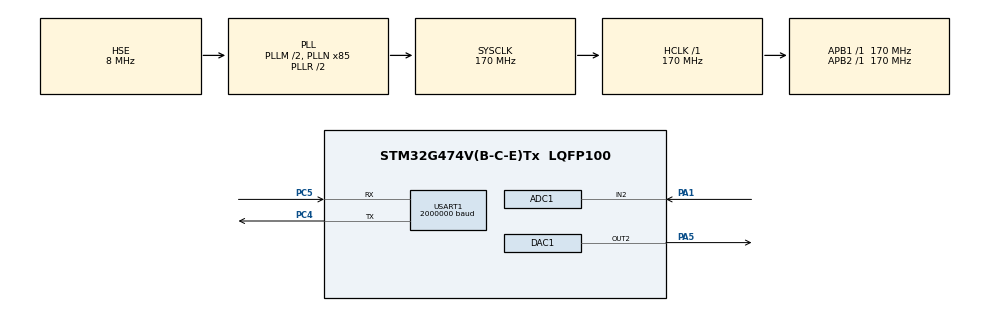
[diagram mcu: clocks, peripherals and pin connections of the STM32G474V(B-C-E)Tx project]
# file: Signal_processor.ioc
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ADC1.Channel-1\#ChannelRegularConversion=ADC_CHANNEL_2
ADC1.DMAContinuousRequests=ENABLE
ADC1.ExternalTrigConv=ADC_EXTERNALTRIG_T3_TRGO
ADC1.NbrOfConversionFlag=1
ADC1.OffsetNumber-1\#ChannelRegularConversion=ADC_OFFSET_NONE
ADC1.Rank-1\#ChannelRegularConversion=1
ADC1.SamplingTime-1\#ChannelRegularConversion=ADC_SAMPLETIME_12CYCLES_5
ADC1.master=1
DAC1.DAC_Channel-DAC_OUT2=DAC_CHANNEL_2
Dma.ADC1.2.Direction=DMA_PERIPH_TO_MEMORY
Dma.ADC1.2.EventEnable=DISABLE
Dma.ADC1.2.Instance=DMA1_Channel2
Dma.ADC1.2.MemDataAlignment=DMA_MDATAALIGN_HALFWORD
Dma.ADC1.2.MemInc=DMA_MINC_ENABLE
Dma.ADC1.2.Mode=DMA_CIRCULAR
Dma.ADC1.2.PeriphDataAlignment=DMA_PDATAALIGN_HALFWORD
Dma.ADC1.2.PeriphInc=DMA_PINC_DISABLE
Dma.ADC1.2.Polarity=HAL_DMAMUX_REQ_GEN_RISING
Dma.ADC1.2.Priority=DMA_PRIORITY_LOW
Dma.ADC1.2.RequestNumber=1
Dma.ADC1.2.SignalID=NONE
Dma.ADC1.2.SyncEnable=DISABLE
Dma.ADC1.2.SyncPolarity=HAL_DMAMUX_SYNC_NO_EVENT
Dma.ADC1.2.SyncRequestNumber=1
Dma.ADC1.2.SyncSignalID=NONE
Dma.Request0=USART1_RX
Dma.Request1=USART1_TX
Dma.Request2=ADC1
Dma.USART1_RX.0.Direction=DMA_PERIPH_TO_MEMORY
Dma.USART1_RX.0.EventEnable=DISABLE
Dma.USART1_RX.0.Instance=DMA1_Channel3
Dma.USART1_RX.0.MemDataAlignment=DMA_MDATAALIGN_BYTE
Dma.USART1_RX.0.MemInc=DMA_MINC_ENABLE
Dma.USART1_RX.0.Mode=DMA_CIRCULAR
Dma.USART1_RX.0.PeriphDataAlignment=DMA_PDATAALIGN_BYTE
Dma.USART1_RX.0.PeriphInc=DMA_PINC_DISABLE
Dma.USART1_RX.0.Polarity=HAL_DMAMUX_REQ_GEN_RISING
Dma.USART1_RX.0.Priority=DMA_PRIORITY_LOW
Dma.USART1_RX.0.RequestNumber=1
Dma.USART1_RX.0.SignalID=NONE
Dma.USART1_RX.0.SyncEnable=DISABLE
Dma.USART1_RX.0.SyncPolarity=HAL_DMAMUX_SYNC_NO_EVENT
Dma.USART1_RX.0.SyncRequestNumber=1
Dma.USART1_RX.0.SyncSignalID=NONE
Dma.USART1_TX.1.Direction=DMA_MEMORY_TO_PERIPH
Dma.USART1_TX.1.EventEnable=DISABLE
Dma.USART1_TX.1.Instance=DMA1_Channel4
Dma.USART1_TX.1.MemDataAlignment=DMA_MDATAALIGN_BYTE
Dma.USART1_TX.1.MemInc=DMA_MINC_ENABLE
Dma.USART1_TX.1.Mode=DMA_NORMAL
Dma.USART1_TX.1.PeriphDataAlignment=DMA_PDATAALIGN_BYTE
Dma.USART1_TX.1.PeriphInc=DMA_PINC_DISABLE
Dma.USART1_TX.1.Polarity=HAL_DMAMUX_REQ_GEN_RISING
Dma.USART1_TX.1.Priority=DMA_PRIORITY_LOW
Dma.USART1_TX.1.RequestNumber=1
Dma.USART1_TX.1.SignalID=NONE
Dma.USART1_TX.1.SyncEnable=DISABLE
Dma.USART1_TX.1.SyncPolarity=HAL_DMAMUX_SYNC_NO_EVENT
Dma.USART1_TX.1.SyncRequestNumber=1
Dma.USART1_TX.1.SyncSignalID=NONE
Mcu.Family=STM32G4
Mcu.Name=STM32G474V(B-C-E)Tx
Mcu.Package=LQFP100
NVIC.DMA1_Channel2_IRQn=true\:0\:0\:false\:false\:true\:false\:true\:true
NVIC.DMA1_Channel3_IRQn=true\:0\:0\:false\:false\:true\:false\:true\:true
NVIC.DMA1_Channel4_IRQn=true\:0\:0\:false\:false\:true\:false\:true\:true
NVIC.PriorityGroup=NVIC_PRIORITYGROUP_4
NVIC.TIM6_DAC_IRQn=true\:0\:0\:false\:false\:true\:true\:true\:true
NVIC.USART1_IRQn=true\:0\:0\:false\:false\:true\:true\:true\:true
PA1.Mode=IN2-Single-Ended
PA1.Signal=ADC1_IN2
PA5.Signal=COMP_DAC12_group
PC4.Mode=Asynchronous
PC4.Signal=USART1_TX
PC5.Mode=Asynchronous
PC5.Signal=USART1_RX
PF0-OSC_IN.Mode=HSE-External-Oscillator
PF0-OSC_IN.Signal=RCC_OSC_IN
PF1-OSC_OUT.Mode=HSE-External-Oscillator
PF1-OSC_OUT.Signal=RCC_OSC_OUT
ProjectManager.HeapSize=0x200
ProjectManager.StackSize=0x400
ProjectManager.TargetToolchain=STM32CubeIDE
RCC.ADC12Freq_Value=170000000
RCC.ADC345Freq_Value=170000000
RCC.AHBFreq_Value=170000000
RCC.APB1Freq_Value=170000000
RCC.APB1TimFreq_Value=170000000
RCC.APB2Freq_Value=170000000
RCC.APB2TimFreq_Value=170000000
RCC.CortexFreq_Value=170000000
RCC.EXTERNAL_CLOCK_VALUE=12288000
RCC.HCLKFreq_Value=170000000
RCC.HSE_VALUE=8000000
RCC.HSI48_VALUE=48000000
RCC.HSI_VALUE=16000000
RCC.LSE_VALUE=32768
RCC.PLLM=RCC_PLLM_DIV2
RCC.PLLN=85
RCC.PLLSourceVirtual=RCC_PLLSOURCE_HSE
RCC.SYSCLKFreq_VALUE=170000000
RCC.SYSCLKSource=RCC_SYSCLKSOURCE_PLLCLK
RCC.USBFreq_Value=170000000
RCC.VCOOutputFreq_Value=340000000
SH.COMP_DAC12_group.0=DAC1_OUT2,DAC_OUT2
TIM3.AutoReloadPreload=TIM_AUTORELOAD_PRELOAD_ENABLE
TIM3.PeriodNoDither=1699
TIM3.TIM_MasterOutputTrigger=TIM_TRGO_UPDATE
TIM6.AutoReloadPreload=TIM_AUTORELOAD_PRELOAD_ENABLE
TIM6.PeriodNoDither=665
TIM6.TIM_MasterOutputTrigger=TIM_TRGO_UPDATE
USART1.BaudRate=2000000
USART1.OverSampling=UART_OVERSAMPLING_16
USART1.VirtualMode-Asynchronous=VM_ASYNC
VP_SYS_VS_DBSignals.Mode=DisableDeadBatterySignals
VP_TIM3_VS_ClockSourceINT.Mode=Internal
VP_TIM6_VS_ClockSourceINT.Mode=Enable_Timer
board=custom

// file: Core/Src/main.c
/* USER CODE BEGIN Header */
/**
  ******************************************************************************
  * @file           : main.c
  * @brief          : Main program body
  ******************************************************************************
  * @attention
  *
  * Copyright (c) 2026 STMicroelectronics.
  * All rights reserved.
  *
  * This software is licensed under terms that can be found in the LICENSE file
  * in the root directory of this software component.
  * If no LICENSE file comes with this software, it is provided AS-IS.
  *
  ******************************************************************************
  */
/* USER CODE END Header */
#include "main.h"
#include "adc.h"
#include "dac.h"
#include "dma.h"
#include "tim.h"
#include "usart.h"
#include "gpio.h"

/* USER CODE BEGIN Includes */
#include "signal_generator.h"
#include "oscilloscope.h"
#include "uart_protocol.h"
/* USER CODE END Includes */

void SystemClock_Config(void);

int main(void)
{

  /* MCU Configuration--------------------------------------------------------*/

  /* Reset of all peripherals, Initializes the Flash interface and the Systick. */
  HAL_Init();

  /* Configure the system clock */
  SystemClock_Config();

  /* Initialize all configured peripherals */
  MX_GPIO_Init();
  MX_DMA_Init();
  MX_DAC1_Init();
  MX_ADC1_Init();
  MX_TIM3_Init();
  MX_TIM6_Init();
  MX_USART1_UART_Init();
  /* USER CODE BEGIN 2 */

  /* Initialize application modules */
  SignalGen_Init();
  Oscilloscope_Init();
  Protocol_Init();

  /* USER CODE END 2 */

  /* Infinite loop */
  while (1)
  {

    /* USER CODE BEGIN 3 */

    /* Poll UART for incoming commands */
    Protocol_Poll();

    /* Process received command frame */
    ProtoFrame_t frame;
    if (Protocol_GetFrame(&frame))
    {
        switch (frame.cmd)
        {
        case CMD_SET_WAVEFORM:
            if (frame.data_len >= 1) {
                SignalGen_SetWaveform((WaveType_t)frame.data[0]);
                Protocol_SendAck(frame.cmd, 0);
            }
            break;

        case CMD_SET_FREQUENCY:
            if (frame.data_len >= 4) {
                uint32_t freq = ((uint32_t)frame.data[0] << 24)
                              | ((uint32_t)frame.data[1] << 16)
                              | ((uint32_t)frame.data[2] << 8)
                              |  (uint32_t)frame.data[3];
                SignalGen_SetFrequency(freq);
                Protocol_SendAck(frame.cmd, 0);
            }
            break;

        case CMD_SET_AMPLITUDE:
            if (frame.data_len >= 2) {
                uint16_t amp = ((uint16_t)frame.data[0] << 8)
                             |  (uint16_t)frame.data[1];
                SignalGen_SetAmplitude(amp);
                Protocol_SendAck(frame.cmd, 0);
            }
            break;

        case CMD_SIG_ONOFF:
            if (frame.data_len >= 1) {
                if (frame.data[0]) SignalGen_Start();
                else               SignalGen_Stop();
                Protocol_SendAck(frame.cmd, frame.data[0] && !SignalGen_IsRunning());
            }
            break;

        case CMD_SET_SAMPLERATE:
            if (frame.data_len >= 4) {
                uint32_t sps = ((uint32_t)frame.data[0] << 24)
                             | ((uint32_t)frame.data[1] << 16)
                             | ((uint32_t)frame.data[2] << 8)
                             |  (uint32_t)frame.data[3];
                Oscilloscope_SetSampleRate(sps);
                Protocol_SendAck(frame.cmd, 0);
            }
            break;

        case CMD_OSC_ONOFF:
            if (frame.data_len >= 1) {
                if (frame.data[0]) Oscilloscope_Start();
                else               Oscilloscope_Stop();
                Protocol_SendAck(frame.cmd, 0);
            }
            break;

        default:
            Protocol_SendAck(frame.cmd, 1); /* Unknown command */
            break;
        }
    }

    /* Poll oscilloscope to send captured data */
    Oscilloscope_Poll();

  }
  /* USER CODE END 3 */
}

void SystemClock_Config(void)
{
  RCC_OscInitTypeDef RCC_OscInitStruct = {0};
  RCC_ClkInitTypeDef RCC_ClkInitStruct = {0};

  /** Configure the main internal regulator output voltage
  */
  HAL_PWREx_ControlVoltageScaling(PWR_REGULATOR_VOLTAGE_SCALE1_BOOST);

  /** Initializes the RCC Oscillators according to the specified parameters
  * in the RCC_OscInitTypeDef structure.
  */
  RCC_OscInitStruct.OscillatorType = RCC_OSCILLATORTYPE_HSE;
  RCC_OscInitStruct.HSEState = RCC_HSE_ON;
  RCC_OscInitStruct.PLL.PLLState = RCC_PLL_ON;
  RCC_OscInitStruct.PLL.PLLSource = RCC_PLLSOURCE_HSE;
  RCC_OscInitStruct.PLL.PLLM = RCC_PLLM_DIV2;
  RCC_OscInitStruct.PLL.PLLN = 85;
  RCC_OscInitStruct.PLL.PLLP = RCC_PLLP_DIV2;
  RCC_OscInitStruct.PLL.PLLQ = RCC_PLLQ_DIV2;
  RCC_OscInitStruct.PLL.PLLR = RCC_PLLR_DIV2;
  if (HAL_RCC_OscConfig(&RCC_OscInitStruct) != HAL_OK)
  {
    Error_Handler();
  }

  /** Initializes the CPU, AHB and APB buses clocks
  */
  RCC_ClkInitStruct.ClockType = RCC_CLOCKTYPE_HCLK|RCC_CLOCKTYPE_SYSCLK
                              |RCC_CLOCKTYPE_PCLK1|RCC_CLOCKTYPE_PCLK2;
  RCC_ClkInitStruct.SYSCLKSource = RCC_SYSCLKSOURCE_PLLCLK;
  RCC_ClkInitStruct.AHBCLKDivider = RCC_SYSCLK_DIV1;
  RCC_ClkInitStruct.APB1CLKDivider = RCC_HCLK_DIV1;
  RCC_ClkInitStruct.APB2CLKDivider = RCC_HCLK_DIV1;

  if (HAL_RCC_ClockConfig(&RCC_ClkInitStruct, FLASH_LATENCY_4) != HAL_OK)
  {
    Error_Handler();
  }
}

/* USER CODE BEGIN 4 */

/* ---- HAL Callbacks ---- */

/**
  * @brief  ADC DMA half-transfer complete callback
  */
void HAL_ADC_ConvHalfCpltCallback(ADC_HandleTypeDef *hadc)
{
    if (hadc->Instance == ADC1)
        Oscilloscope_HalfCpltCallback();
}

/**
  * @brief  ADC DMA transfer complete callback
  */
void HAL_ADC_ConvCpltCallback(ADC_HandleTypeDef *hadc)
{
    if (hadc->Instance == ADC1)
        Oscilloscope_CpltCallback();
}

/**
  * @brief  UART DMA transmit complete callback
  */
void HAL_UART_TxCpltCallback(UART_HandleTypeDef *huart)
{
    if (huart->Instance == USART1)
        g_uart_tx_busy = false;
}

/**
  * @brief  Timer period elapsed callback
  */
void HAL_TIM_PeriodElapsedCallback(TIM_HandleTypeDef *htim)
{
    if (htim->Instance == TIM6)
        SignalGen_TIM6_Callback();
}

/* USER CODE END 4 */

void Error_Handler(void)
{
  __disable_irq();
  while (1)
  {
  }
}
